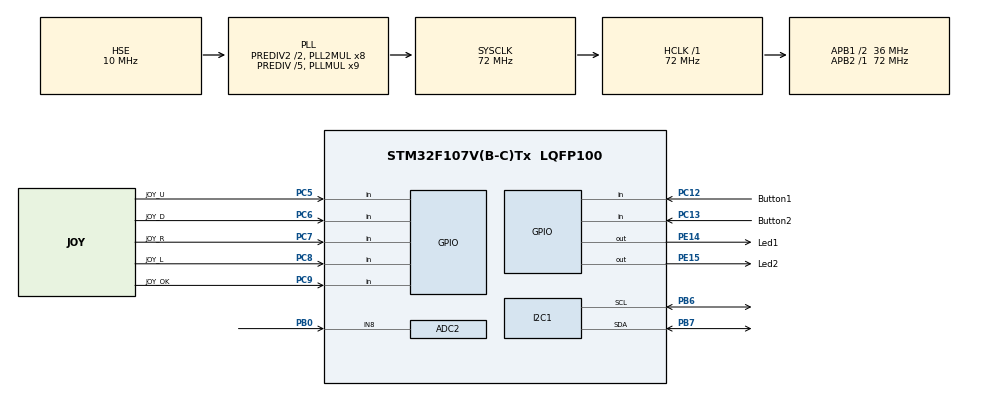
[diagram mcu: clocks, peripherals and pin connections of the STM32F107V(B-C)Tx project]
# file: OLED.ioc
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ADC1.Channel-0\#ChannelRegularConversion=ADC_CHANNEL_TEMPSENSOR
ADC1.ContinuousConvMode=DISABLE
ADC1.NbrOfConversion=1
ADC1.NbrOfConversionFlag=1
ADC1.Rank-0\#ChannelRegularConversion=1
ADC1.SamplingTime-0\#ChannelRegularConversion=ADC_SAMPLETIME_239CYCLES_5
ADC1.master=1
ADC2.Channel-4\#ChannelRegularConversion=ADC_CHANNEL_8
ADC2.NbrOfConversionFlag=1
ADC2.Rank-4\#ChannelRegularConversion=1
ADC2.SamplingTime-4\#ChannelRegularConversion=ADC_SAMPLETIME_1CYCLE_5
Mcu.Family=STM32F1
Mcu.Name=STM32F107V(B-C)Tx
Mcu.Package=LQFP100
NVIC.I2C1_EV_IRQn=true\:0\:0\:false\:false\:true
NVIC.PriorityGroup=NVIC_PRIORITYGROUP_4
NVIC.TIM3_IRQn=true\:0\:0\:false\:false\:true
OSC_IN.Mode=HSE-External-Oscillator
OSC_IN.Signal=RCC_OSC_IN
OSC_OUT.Mode=HSE-External-Oscillator
OSC_OUT.Signal=RCC_OSC_OUT
PA13.Mode=Serial_Wire
PA13.Signal=SYS_JTMS-SWDIO
PA14.Mode=Serial_Wire
PA14.Signal=SYS_JTCK-SWCLK
PB0.Signal=ADCx_IN8
PB6.Mode=I2C
PB6.Signal=I2C1_SCL
PB7.Mode=I2C
PB7.Signal=I2C1_SDA
PC12.GPIO_Label=Button1
PC12.Signal=GPIO_Input
PC13-TAMPER-RTC.GPIO_Label=Button2
PC13-TAMPER-RTC.Signal=GPIO_Input
PC14-OSC32_IN.Mode=LSE-External-Oscillator
PC14-OSC32_IN.Signal=RCC_OSC32_IN
PC15-OSC32_OUT.Mode=LSE-External-Oscillator
PC15-OSC32_OUT.Signal=RCC_OSC32_OUT
PC5.GPIO_Label=JOY_U
PC5.Signal=GPIO_Input
PC6.GPIO_Label=JOY_D
PC6.Signal=GPIO_Input
PC7.GPIO_Label=JOY_R
PC7.Signal=GPIO_Input
PC8.GPIO_Label=JOY_L
PC8.Signal=GPIO_Input
PC9.GPIO_Label=JOY_OK
PC9.Signal=GPIO_Input
PE14.GPIO_Label=Led1
PE14.GPIO_Speed=GPIO_SPEED_FREQ_HIGH
PE14.PinState=GPIO_PIN_SET
PE14.Signal=GPIO_Output
PE15.GPIO_Label=Led2
PE15.GPIO_Speed=GPIO_SPEED_FREQ_HIGH
PE15.PinState=GPIO_PIN_SET
PE15.Signal=GPIO_Output
ProjectManager.HeapSize=0x200
ProjectManager.StackSize=0x400
ProjectManager.TargetToolchain=SW4STM32
RCC.ADCPresc=RCC_ADCPCLK2_DIV6
RCC.AHBFreq_Value=72000000
RCC.APB1CLKDivider=RCC_HCLK_DIV2
RCC.APB1Freq_Value=36000000
RCC.APB1TimFreq_Value=72000000
RCC.APB2Freq_Value=72000000
RCC.APB2TimFreq_Value=72000000
RCC.HCLKFreq_Value=72000000
RCC.HSEDivPLL=RCC_HSE_PREDIV_DIV5
RCC.HSE_VALUE=10000000
RCC.HSIState=RCC_HSI_ON
RCC.PLLMUL=RCC_PLL_MUL9
RCC.PLLSourceVirtual=RCC_PLLSOURCE_HSE
RCC.Prediv1Source=RCC_PREDIV1_SOURCE_PLL2
RCC.Prediv2=RCC_HSE_PREDIV2_DIV2
RCC.SYSCLKFreq_VALUE=72000000
RCC.SYSCLKSource=RCC_SYSCLKSOURCE_PLLCLK
RCC.USBFreq_Value=48000000
SH.ADCx_IN8.0=ADC2_IN8,IN8
TIM3.Period=4499
TIM3.Prescaler=16000
VP_ADC1_TempSens_Input.Mode=IN-TempSens
VP_TIM3_VS_ClockSourceINT.Mode=Internal
board=OLED

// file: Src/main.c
/**
  ******************************************************************************
  * File Name          : main.c
  * Description        : Main program body
  ******************************************************************************
  *
  * COPYRIGHT(c) 2016 STMicroelectronics
  *
  * Redistribution and use in source and binary forms, with or without modification,
  * are permitted provided that the following conditions are met:
  *   1. Redistributions of source code must retain the above copyright notice,
  *      this list of conditions and the following disclaimer.
  *   2. Redistributions in binary form must reproduce the above copyright notice,
  *      this list of conditions and the following disclaimer in the documentation
  *      and/or other materials provided with the distribution.
  *   3. Neither the name of STMicroelectronics nor the names of its contributors
  *      may be used to endorse or promote products derived from this software
  *      without specific prior written permission.
  *
  * THIS SOFTWARE IS PROVIDED BY THE COPYRIGHT HOLDERS AND CONTRIBUTORS "AS IS"
  * AND ANY EXPRESS OR IMPLIED WARRANTIES, INCLUDING, BUT NOT LIMITED TO, THE
  * IMPLIED WARRANTIES OF MERCHANTABILITY AND FITNESS FOR A PARTICULAR PURPOSE ARE
  * DISCLAIMED. IN NO EVENT SHALL THE COPYRIGHT HOLDER OR CONTRIBUTORS BE LIABLE
  * FOR ANY DIRECT, INDIRECT, INCIDENTAL, SPECIAL, EXEMPLARY, OR CONSEQUENTIAL
  * DAMAGES (INCLUDING, BUT NOT LIMITED TO, PROCUREMENT OF SUBSTITUTE GOODS OR
  * SERVICES; LOSS OF USE, DATA, OR PROFITS; OR BUSINESS INTERRUPTION) HOWEVER
  * CAUSED AND ON ANY THEORY OF LIABILITY, WHETHER IN CONTRACT, STRICT LIABILITY,
  * OR TORT (INCLUDING NEGLIGENCE OR OTHERWISE) ARISING IN ANY WAY OUT OF THE USE
  * OF THIS SOFTWARE, EVEN IF ADVISED OF THE POSSIBILITY OF SUCH DAMAGE.
  *
  ******************************************************************************
  */
#include "main.h"
#include "stm32f1xx_hal.h"

/* USER CODE BEGIN Includes */
#include <string.h>
#include "SSD1306.h"
/* USER CODE END Includes */

ADC_HandleTypeDef hadc1;
ADC_HandleTypeDef hadc2;

I2C_HandleTypeDef hi2c1;

TIM_HandleTypeDef htim3;

/* USER CODE BEGIN PV */
/* Private variables ---------------------------------------------------------*/

/* USER CODE END PV */

void SystemClock_Config(void);
void Error_Handler(void);
static void MX_GPIO_Init(void);
static void MX_ADC1_Init(void);
static void MX_I2C1_Init(void);
static void MX_TIM3_Init(void);
static void MX_ADC2_Init(void);

/* USER CODE BEGIN PFP */
/* Private function prototypes -----------------------------------------------*/

/* USER CODE END PFP */

/* USER CODE BEGIN 0 */
const uint8_t degGlyph[16] = {
    0x00, /* 00000000 */
    0x00, /* 00000000 */
    0x7c, /* 01111100 */
    0xc6, /* 11000110 */
    0xc6, /* 11000110 */
    0xc6, /* 11000110 */
    0xc6, /* 11000110 */
    0x7c, /* 01111100 */
    0x00, /* 00000000 */
    0x00, /* 00000000 */
    0x00, /* 00000000 */
    0x00, /* 00000000 */
    0x00, /* 00000000 */
    0x00, /* 00000000 */
    0x00, /* 00000000 */
    0x00, /* 00000000 */
};
const uint8_t heatingGlyph[16] = {
    0xFF, /* 11111111 */
    0xFF, /* 11111111 */
    0x99, /* 10011001 */
    0x99, /* 10011001 */
    0x99, /* 10011001 */
    0x81, /* 10000001 */
    0x81, /* 10000001 */
    0x99, /* 10011001 */
    0x99, /* 10011001 */
    0x99, /* 10011001 */
    0xFF, /* 11111111 */
    0xFF, /* 11111111 */
    0x00, /* 00000000 */
    0x00, /* 00000000 */
    0x00, /* 00000000 */
    0x00, /* 00000000 */
};

const uint8_t sleepingGlyph[16] = {
    0xFF, /* 11111111 */
    0xFF, /* 11111111 */
    0xC3, /* 11000011 */
    0x99, /* 10011001 */
    0x9F, /* 10011111 */
    0xC7, /* 11000111 */
    0xE3, /* 11100011 */
    0xF9, /* 11111001 */
    0x99, /* 10011001 */
    0xC3, /* 11000011 */
    0xFF, /* 11111111 */
    0xFF, /* 11111111 */
    0x00, /* 00000000 */
    0x00, /* 00000000 */
    0x00, /* 00000000 */
    0x00, /* 00000000 */
};

const uint8_t readyGlyph[16] = {
    0xFF, /* 11111111 */
    0xFF, /* 11111111 */
    0xC3, /* 11000011 */
    0x99, /* 10011001 */
    0x99, /* 10011001 */
    0x99, /* 10011001 */
    0x83, /* 10000011 */
    0x87, /* 10000111 */
    0x93, /* 10010011 */
    0x99, /* 10011001 */
    0xFF, /* 11111111 */
    0xFF, /* 11111111 */
    0x00, /* 00000000 */
    0x00, /* 00000000 */
    0x00, /* 00000000 */
    0x00, /* 00000000 */
};

const uint8_t pointerGlyph[16] = {
    0x00, /* 00000000 */
    0x40, /* 01000000 */
    0x60, /* 01100000 */
    0x70, /* 01110000 */
    0x78, /* 01111000 */
    0x7c, /* 01111100 */
    0x7e, /* 01111110 */
    0x7c, /* 01111100 */
    0x78, /* 01111000 */
    0x70, /* 01110000 */
    0x60, /* 01100000 */
    0x40, /* 01000000 */
    0x00, /* 00000000 */
    0x00, /* 00000000 */
    0x00, /* 00000000 */
    0x00, /* 00000000 */
};

enum {
    GUI_MAIN, GUI_SETTINGS
};
void GUILoop();

float temp;
float dest_temp;
uint32_t GUIState = GUI_MAIN;
uint8_t stateChanged = 1;
uint8_t cursorPosition = 0;
/* USER CODE END 0 */

int main(void) {

    /* USER CODE BEGIN 1 */
    uint32_t adc_val;
    uint32_t adc_dest_temp;
    /* USER CODE END 1 */

    /* MCU Configuration----------------------------------------------------------*/

    /* Reset of all peripherals, Initializes the Flash interface and the Systick. */
    HAL_Init();

    /* Configure the system clock */
    SystemClock_Config();

    /* Initialize all configured peripherals */
    MX_GPIO_Init();
    MX_ADC1_Init();
    MX_I2C1_Init();
    MX_TIM3_Init();
    MX_ADC2_Init();

    /* USER CODE BEGIN 2 */
    HAL_GPIO_WritePin(Led1_GPIO_Port, Led1_Pin, GPIO_PIN_RESET);
    HAL_GPIO_WritePin(Led2_GPIO_Port, Led2_Pin, GPIO_PIN_RESET);
    HAL_TIM_Base_Start_IT(&htim3);
    SSD1306_init(&hi2c1);
    SSD1306_enable(&hi2c1, 1);
    /* USER CODE END 2 */

    /* Infinite loop */
    while( 1 ) {

        /* USER CODE BEGIN 3 */

        HAL_ADC_Start(&hadc1);
        HAL_ADC_PollForConversion(&hadc1, 100);
        adc_val = HAL_ADC_GetValue(&hadc1);
        HAL_ADC_Stop(&hadc1);

        HAL_ADC_Start(&hadc2);
        HAL_ADC_PollForConversion(&hadc2, 100);
        adc_dest_temp = HAL_ADC_GetValue(&hadc2);
        HAL_ADC_Stop(&hadc2);

        dest_temp = adc_dest_temp / 4029.0f;
        dest_temp *= 350;
        dest_temp += 100;
        float tmp = dest_temp - (int) dest_temp;
        if( tmp > 0.5 )
            dest_temp = (int) dest_temp + 0.5f;
        else
            dest_temp = (int) dest_temp;

        adc_val = 1750 - adc_val;
        temp = adc_val / 4.3f;
        temp += 25.0f;
        GUILoop();

    }
    /* USER CODE END 3 */

}

/** System Clock Configuration
*/
void SystemClock_Config(void) {

    RCC_OscInitTypeDef RCC_OscInitStruct;
    RCC_ClkInitTypeDef RCC_ClkInitStruct;
    RCC_PeriphCLKInitTypeDef PeriphClkInit;

    /**Initializes the CPU, AHB and APB busses clocks
    */
    RCC_OscInitStruct.OscillatorType = RCC_OSCILLATORTYPE_HSE;
    RCC_OscInitStruct.HSEState = RCC_HSE_ON;
    RCC_OscInitStruct.HSEPredivValue = RCC_HSE_PREDIV_DIV5;
    RCC_OscInitStruct.HSIState = RCC_HSI_ON;
    RCC_OscInitStruct.Prediv1Source = RCC_PREDIV1_SOURCE_PLL2;
    RCC_OscInitStruct.PLL.PLLState = RCC_PLL_ON;
    RCC_OscInitStruct.PLL.PLLSource = RCC_PLLSOURCE_HSE;
    RCC_OscInitStruct.PLL.PLLMUL = RCC_PLL_MUL9;
    RCC_OscInitStruct.PLL2.PLL2State = RCC_PLL2_ON;
    RCC_OscInitStruct.PLL2.PLL2MUL = RCC_PLL2_MUL8;
    RCC_OscInitStruct.PLL2.HSEPrediv2Value = RCC_HSE_PREDIV2_DIV2;
    if( HAL_RCC_OscConfig(&RCC_OscInitStruct) != HAL_OK ) {
        Error_Handler();
    }

    /**Initializes the CPU, AHB and APB busses clocks
    */
    RCC_ClkInitStruct.ClockType = RCC_CLOCKTYPE_HCLK | RCC_CLOCKTYPE_SYSCLK
                                  | RCC_CLOCKTYPE_PCLK1 | RCC_CLOCKTYPE_PCLK2;
    RCC_ClkInitStruct.SYSCLKSource = RCC_SYSCLKSOURCE_PLLCLK;
    RCC_ClkInitStruct.AHBCLKDivider = RCC_SYSCLK_DIV1;
    RCC_ClkInitStruct.APB1CLKDivider = RCC_HCLK_DIV2;
    RCC_ClkInitStruct.APB2CLKDivider = RCC_HCLK_DIV1;

    if( HAL_RCC_ClockConfig(&RCC_ClkInitStruct, FLASH_LATENCY_2) != HAL_OK ) {
        Error_Handler();
    }

    PeriphClkInit.PeriphClockSelection = RCC_PERIPHCLK_ADC;
    PeriphClkInit.AdcClockSelection = RCC_ADCPCLK2_DIV6;
    if( HAL_RCCEx_PeriphCLKConfig(&PeriphClkInit) != HAL_OK ) {
        Error_Handler();
    }

    /**Configure the Systick interrupt time
    */
    HAL_SYSTICK_Config(HAL_RCC_GetHCLKFreq() / 1000);

    /**Configure the Systick
    */
    HAL_SYSTICK_CLKSourceConfig(SYSTICK_CLKSOURCE_HCLK);

    /**Configure the Systick interrupt time
    */
    __HAL_RCC_PLLI2S_ENABLE();

    /* SysTick_IRQn interrupt configuration */
    HAL_NVIC_SetPriority(SysTick_IRQn, 0, 0);
}

/* ADC1 init function */
static void MX_ADC1_Init(void) {

    ADC_ChannelConfTypeDef sConfig;

    /**Common config
    */
    hadc1.Instance = ADC1;
    hadc1.Init.ScanConvMode = ADC_SCAN_DISABLE;
    hadc1.Init.ContinuousConvMode = DISABLE;
    hadc1.Init.DiscontinuousConvMode = DISABLE;
    hadc1.Init.ExternalTrigConv = ADC_SOFTWARE_START;
    hadc1.Init.DataAlign = ADC_DATAALIGN_RIGHT;
    hadc1.Init.NbrOfConversion = 1;
    if( HAL_ADC_Init(&hadc1) != HAL_OK ) {
        Error_Handler();
    }

    /**Configure Regular Channel
    */
    sConfig.Channel = ADC_CHANNEL_TEMPSENSOR;
    sConfig.Rank = 1;
    sConfig.SamplingTime = ADC_SAMPLETIME_239CYCLES_5;
    if( HAL_ADC_ConfigChannel(&hadc1, &sConfig) != HAL_OK ) {
        Error_Handler();
    }

}

/* ADC2 init function */
static void MX_ADC2_Init(void) {

    ADC_ChannelConfTypeDef sConfig;

    /**Common config
    */
    hadc2.Instance = ADC2;
    hadc2.Init.ScanConvMode = ADC_SCAN_DISABLE;
    hadc2.Init.ContinuousConvMode = DISABLE;
    hadc2.Init.DiscontinuousConvMode = DISABLE;
    hadc2.Init.ExternalTrigConv = ADC_SOFTWARE_START;
    hadc2.Init.DataAlign = ADC_DATAALIGN_RIGHT;
    hadc2.Init.NbrOfConversion = 1;
    if( HAL_ADC_Init(&hadc2) != HAL_OK ) {
        Error_Handler();
    }

    /**Configure Regular Channel
    */
    sConfig.Channel = ADC_CHANNEL_8;
    sConfig.Rank = 1;
    sConfig.SamplingTime = ADC_SAMPLETIME_1CYCLE_5;
    if( HAL_ADC_ConfigChannel(&hadc2, &sConfig) != HAL_OK ) {
        Error_Handler();
    }

}

/* I2C1 init function */
static void MX_I2C1_Init(void) {

    hi2c1.Instance = I2C1;
    hi2c1.Init.ClockSpeed = 100000;
    hi2c1.Init.DutyCycle = I2C_DUTYCYCLE_2;
    hi2c1.Init.OwnAddress1 = 0;
    hi2c1.Init.AddressingMode = I2C_ADDRESSINGMODE_7BIT;
    hi2c1.Init.DualAddressMode = I2C_DUALADDRESS_DISABLE;
    hi2c1.Init.OwnAddress2 = 0;
    hi2c1.Init.GeneralCallMode = I2C_GENERALCALL_DISABLE;
    hi2c1.Init.NoStretchMode = I2C_NOSTRETCH_DISABLE;
    if( HAL_I2C_Init(&hi2c1) != HAL_OK ) {
        Error_Handler();
    }

}

/* TIM3 init function */
static void MX_TIM3_Init(void) {

    TIM_ClockConfigTypeDef sClockSourceConfig;
    TIM_MasterConfigTypeDef sMasterConfig;

    htim3.Instance = TIM3;
    htim3.Init.Prescaler = 16000;
    htim3.Init.CounterMode = TIM_COUNTERMODE_UP;
    htim3.Init.Period = 4499;
    htim3.Init.ClockDivision = TIM_CLOCKDIVISION_DIV1;
    if( HAL_TIM_Base_Init(&htim3) != HAL_OK ) {
        Error_Handler();
    }

    sClockSourceConfig.ClockSource = TIM_CLOCKSOURCE_INTERNAL;
    if( HAL_TIM_ConfigClockSource(&htim3, &sClockSourceConfig) != HAL_OK ) {
        Error_Handler();
    }

    sMasterConfig.MasterOutputTrigger = TIM_TRGO_RESET;
    sMasterConfig.MasterSlaveMode = TIM_MASTERSLAVEMODE_DISABLE;
    if( HAL_TIMEx_MasterConfigSynchronization(&htim3, &sMasterConfig) != HAL_OK ) {
        Error_Handler();
    }

}

/** Configure pins as
        * Analog
        * Input
        * Output
        * EVENT_OUT
        * EXTI
        * Free pins are configured automatically as Analog (this feature is enabled through
        * the Code Generation settings)
*/
static void MX_GPIO_Init(void) {

    GPIO_InitTypeDef GPIO_InitStruct;

    /* GPIO Ports Clock Enable */
    __HAL_RCC_GPIOE_CLK_ENABLE();
    __HAL_RCC_GPIOC_CLK_ENABLE();
    __HAL_RCC_GPIOA_CLK_ENABLE();
    __HAL_RCC_GPIOB_CLK_ENABLE();
    __HAL_RCC_GPIOD_CLK_ENABLE();

    /*Configure GPIO pins : PE2 PE3 PE4 PE5
                             PE6 PE7 PE8 PE9
                             PE10 PE11 PE12 PE13
                             PE0 PE1 */
    GPIO_InitStruct.Pin = GPIO_PIN_2 | GPIO_PIN_3 | GPIO_PIN_4 | GPIO_PIN_5
                          | GPIO_PIN_6 | GPIO_PIN_7 | GPIO_PIN_8 | GPIO_PIN_9
                          | GPIO_PIN_10 | GPIO_PIN_11 | GPIO_PIN_12 | GPIO_PIN_13
                          | GPIO_PIN_0 | GPIO_PIN_1;
    GPIO_InitStruct.Mode = GPIO_MODE_ANALOG;
    HAL_GPIO_Init(GPIOE, &GPIO_InitStruct);

    /*Configure GPIO pins : Button2_Pin JOY_U_Pin JOY_D_Pin JOY_R_Pin
                             JOY_L_Pin JOY_OK_Pin Button1_Pin */
    GPIO_InitStruct.Pin = Button2_Pin | JOY_U_Pin | JOY_D_Pin | JOY_R_Pin
                          | JOY_L_Pin | JOY_OK_Pin | Button1_Pin;
    GPIO_InitStruct.Mode = GPIO_MODE_INPUT;
    GPIO_InitStruct.Pull = GPIO_NOPULL;
    HAL_GPIO_Init(GPIOC, &GPIO_InitStruct);

    /*Configure GPIO pins : PC0 PC1 PC2 PC3
                             PC4 PC10 PC11 */
    GPIO_InitStruct.Pin = GPIO_PIN_0 | GPIO_PIN_1 | GPIO_PIN_2 | GPIO_PIN_3
                          | GPIO_PIN_4 | GPIO_PIN_10 | GPIO_PIN_11;
    GPIO_InitStruct.Mode = GPIO_MODE_ANALOG;
    HAL_GPIO_Init(GPIOC, &GPIO_InitStruct);

    /*Configure GPIO pins : PA0 PA1 PA2 PA3
                             PA4 PA5 PA6 PA7
                             PA8 PA9 PA10 PA11
                             PA12 PA15 */
    GPIO_InitStruct.Pin = GPIO_PIN_0 | GPIO_PIN_1 | GPIO_PIN_2 | GPIO_PIN_3
                          | GPIO_PIN_4 | GPIO_PIN_5 | GPIO_PIN_6 | GPIO_PIN_7
                          | GPIO_PIN_8 | GPIO_PIN_9 | GPIO_PIN_10 | GPIO_PIN_11
                          | GPIO_PIN_12 | GPIO_PIN_15;
    GPIO_InitStruct.Mode = GPIO_MODE_ANALOG;
    HAL_GPIO_Init(GPIOA, &GPIO_InitStruct);

    /*Configure GPIO pins : PB1 PB2 PB10 PB11
                             PB12 PB13 PB14 PB15
                             PB3 PB4 PB5 PB8
                             PB9 */
    GPIO_InitStruct.Pin = GPIO_PIN_1 | GPIO_PIN_2 | GPIO_PIN_10 | GPIO_PIN_11
                          | GPIO_PIN_12 | GPIO_PIN_13 | GPIO_PIN_14 | GPIO_PIN_15
                          | GPIO_PIN_3 | GPIO_PIN_4 | GPIO_PIN_5 | GPIO_PIN_8
                          | GPIO_PIN_9;
    GPIO_InitStruct.Mode = GPIO_MODE_ANALOG;
    HAL_GPIO_Init(GPIOB, &GPIO_InitStruct);

    /*Configure GPIO pins : Led1_Pin Led2_Pin */
    GPIO_InitStruct.Pin = Led1_Pin | Led2_Pin;
    GPIO_InitStruct.Mode = GPIO_MODE_OUTPUT_PP;
    GPIO_InitStruct.Speed = GPIO_SPEED_FREQ_HIGH;
    HAL_GPIO_Init(GPIOE, &GPIO_InitStruct);

    /*Configure GPIO pins : PD8 PD9 PD10 PD11
                             PD12 PD13 PD14 PD15
                             PD0 PD1 PD2 PD3
                             PD4 PD5 PD6 PD7 */
    GPIO_InitStruct.Pin = GPIO_PIN_8 | GPIO_PIN_9 | GPIO_PIN_10 | GPIO_PIN_11
                          | GPIO_PIN_12 | GPIO_PIN_13 | GPIO_PIN_14 | GPIO_PIN_15
                          | GPIO_PIN_0 | GPIO_PIN_1 | GPIO_PIN_2 | GPIO_PIN_3
                          | GPIO_PIN_4 | GPIO_PIN_5 | GPIO_PIN_6 | GPIO_PIN_7;
    GPIO_InitStruct.Mode = GPIO_MODE_ANALOG;
    HAL_GPIO_Init(GPIOD, &GPIO_InitStruct);

    /*Configure GPIO pin Output Level */
    HAL_GPIO_WritePin(GPIOE, Led1_Pin | Led2_Pin, GPIO_PIN_SET);

}

/* USER CODE BEGIN 4 */
void GUILoop() {
    char temp_str[10];

    if( GUIState == GUI_MAIN ) {
        if( stateChanged ) {
            SSD1306_clear(&hi2c1);
            SSD1306_drawGlyph(&hi2c1, 11 * 8, 0, readyGlyph);
            SSD1306_drawGlyph(&hi2c1, 13 * 8, 0, sleepingGlyph);
            SSD1306_drawGlyph(&hi2c1, 15 * 8, 0, heatingGlyph);
            SSD1306_drawString(&hi2c1, 0, 0, "HEATING", 7);

            SSD1306_drawString(&hi2c1, 8, 16, "TEMP: ", 7);
            SSD1306_drawGlyph(&hi2c1, 13 * 8, 16, degGlyph);
            SSD1306_drawChar(&hi2c1, 14 * 8, 16, 'C');

            SSD1306_drawString(&hi2c1, 8, 32, "DEST: ", 7);
            SSD1306_drawGlyph(&hi2c1, 13 * 8, 32, degGlyph);
            SSD1306_drawChar(&hi2c1, 14 * 8, 32, 'C');

            SSD1306_drawString(&hi2c1, 8, 48, "ERR: ", 5);
            SSD1306_drawStringRight(&hi2c1, 14 * 8, 48, "1.2%", 4);
            stateChanged = 0;
        }
        sprintf(temp_str, "%5.1f", temp);
        SSD1306_drawStringRight(&hi2c1, 8 * 12, 16, temp_str, (uint8_t) strlen(temp_str));

        sprintf(temp_str, "%5.1f", dest_temp);
        SSD1306_drawStringRight(&hi2c1, 8 * 12, 32, temp_str, (uint8_t) strlen(temp_str));

        if( HAL_GPIO_ReadPin(JOY_OK_GPIO_Port, JOY_OK_Pin) == GPIO_PIN_RESET ) {
            stateChanged = 1;
            GUIState = GUI_SETTINGS;
        }
    }

    if( GUIState == GUI_SETTINGS ) {
        if( stateChanged ) {
            SSD1306_clear(&hi2c1);
            SSD1306_drawString(&hi2c1, 0, 0, "SETTINGS", 8);
            SSD1306_drawGlyph(&hi2c1, 0, 16, pointerGlyph);
            SSD1306_drawString(&hi2c1, 8, 16, "AUTO CALIBR.", 12);
            SSD1306_drawString(&hi2c1, 8, 32, "MAN. CALIBR.", 12);
            SSD1306_drawString(&hi2c1, 8, 48, "BACK", 4);
            cursorPosition = 0;
            stateChanged = 0;
        }

        if( HAL_GPIO_ReadPin(JOY_L_GPIO_Port, JOY_L_Pin) == GPIO_PIN_RESET ||
            HAL_GPIO_ReadPin(JOY_U_GPIO_Port, JOY_U_Pin) == GPIO_PIN_RESET ) {
            if( cursorPosition > 0 ) {
                cursorPosition--;
                SSD1306_drawGlyph(&hi2c1, 0, (1 + cursorPosition) * 16, pointerGlyph);
                SSD1306_drawChar(&hi2c1, 0, (2 + cursorPosition) * 16, ' ');
            }

        }
        if( HAL_GPIO_ReadPin(JOY_R_GPIO_Port, JOY_R_Pin) == GPIO_PIN_RESET ||
            HAL_GPIO_ReadPin(JOY_D_GPIO_Port, JOY_D_Pin) == GPIO_PIN_RESET ) {
            if( cursorPosition < 2 ) {
                cursorPosition++;
                SSD1306_drawGlyph(&hi2c1, 0, (1 + cursorPosition) * 16, pointerGlyph);
                SSD1306_drawChar(&hi2c1, 0, (cursorPosition) * 16, ' ');
            }
        }

        if( HAL_GPIO_ReadPin(JOY_OK_GPIO_Port, JOY_OK_Pin) == GPIO_PIN_RESET ) {
            if( cursorPosition == 2 ) {
                stateChanged = 1;
                GUIState = GUI_MAIN;
            }
        }
    }
}
/* USER CODE END 4 */

void Error_Handler(void) {
    while( 1 ) {
    }
}

/************************ (C) COPYRIGHT STMicroelectronics *****END OF FILE****/
